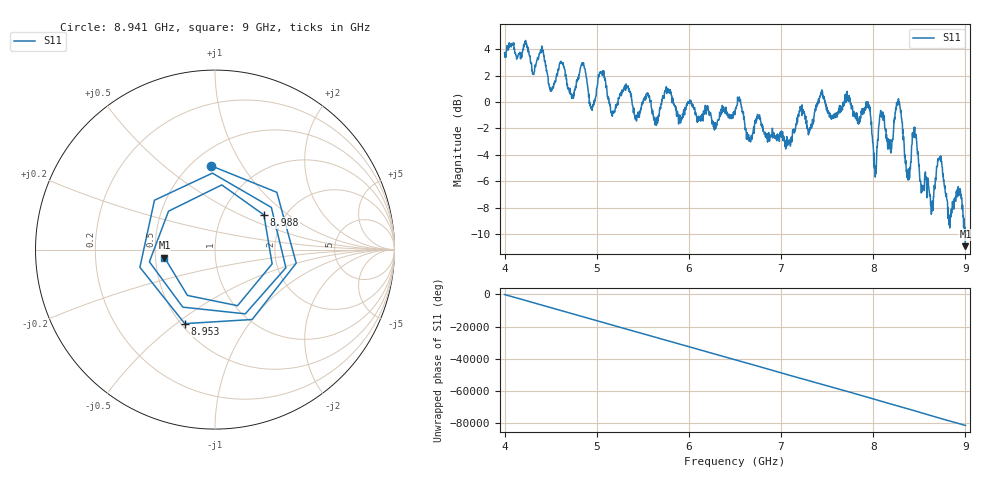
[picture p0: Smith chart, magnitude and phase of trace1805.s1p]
! Created with skrf 1.8.0 (http://scikit-rf.org).
# Hz S RI R 50.0
!freq ReS11 ImS11
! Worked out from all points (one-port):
!   1601 points, 4 GHz to 9 GHz, reference 50 ohm
!   lowest |S11| = -10.9 dB at 9 GHz (marker M1), VSWR 1.80, Z = 27.9 - j2.69 ohm
!   |S11| at or under -10 dB: 8.995544 GHz to end of sweep
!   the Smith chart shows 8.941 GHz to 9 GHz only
!   S11 on the Smith chart (normalised r, x): 8.941 GHz: 0.62, +0.74; 8.953 GHz: 0.52, -0.54; 8.988 GHz: 1.57, +0.68; 9 GHz: 0.56, -0.05
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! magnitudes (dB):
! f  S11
! 4 GHz  3.7
! 4.403 GHz  4.2
! 4.506 GHz  0.9
! 4.625 GHz  2.9
! 4.728 GHz  0.3
! 4.856 GHz  3.0
! 4.944 GHz  -0.5
! 5.053 GHz  2.2
! 5.172 GHz  -0.7
! 5.25 GHz  0.5
! 5.875 GHz  -0.7
! 6.5 GHz  -0.7
! 7.125 GHz  -2.2
! 7.75 GHz  0.0
! 7.944 GHz  0.0
! 8.019 GHz  -5.2
! 8.084 GHz  -0.9
! 8.181 GHz  -2.8
! 8.278 GHz  -0.1
! 8.375 GHz  -5.6
! 8.447 GHz  -2.2
! 8.631 GHz  -8.5
! 8.719 GHz  -4.3
! 8.828 GHz  -8.8
! 8.941 GHz  -6.6
! 8.953 GHz  -7.0
! 8.988 GHz  -9.5
! 9 GHz  -10.9
